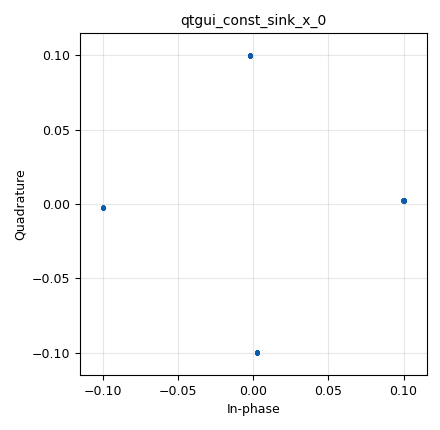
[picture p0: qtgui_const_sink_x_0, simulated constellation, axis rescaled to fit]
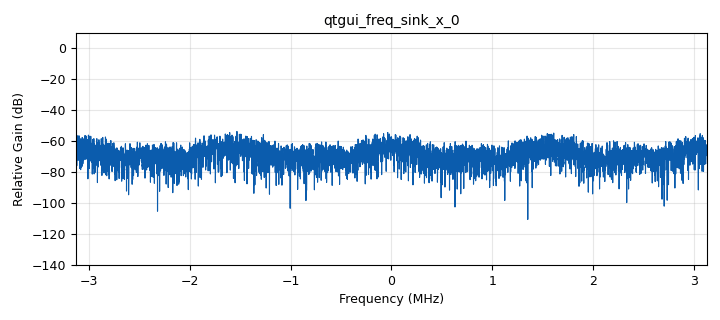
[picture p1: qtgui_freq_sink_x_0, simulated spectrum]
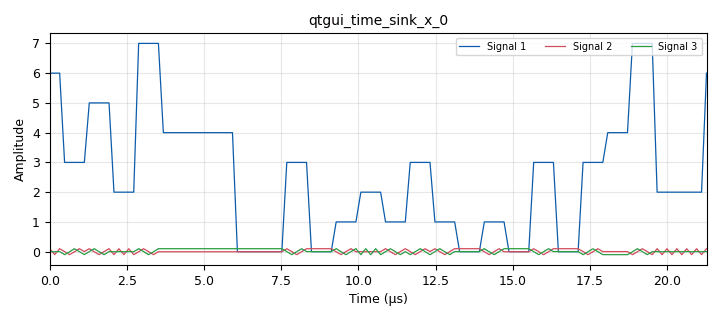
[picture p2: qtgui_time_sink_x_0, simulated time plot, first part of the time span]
options:
  parameters:
    generate_options: qt_gui
    id: grupo_5_jairo_edson_practica_3
    output_language: python
    title: ModulationFsk
  states: {}

blocks:
- name: A
  id: variable_qtgui_range
  parameters:
    label: escala
    start: '0'
    step: '100e-3'
    stop: '2'
    value: '1'
  states: {}
- name: Ac
  id: variable_qtgui_range
  parameters:
    label: Amplitud de la portadora
    start: '0'
    step: '100e-3'
    stop: '2'
    value: '100e-3'
  states: {}
- name: B
  id: variable_qtgui_range
  parameters:
    label: '#muestras por simbolo [sps]'
    rangeType: int
    start: '1'
    step: '1'
    stop: '40'
    value: '5'
  states: {}
- name: DC
  id: variable_qtgui_range
  parameters:
    label: Nivel de la señal modulante
    start: '-8'
    step: '100e-3'
    stop: '8'
    value: '0'
  states: {}
- name: GTX
  id: variable_qtgui_range
  parameters:
    label: Ganancia transmisor
    start: '0'
    step: '1'
    stop: '30'
    value: '0'
  states: {}
- name: Kf
  id: variable_qtgui_range
  parameters:
    label: Coeficiente de sensibilidad (MHz/V)
    start: '-2*math.pi'
    step: '1e-3'
    stop: 2*math.pi
    value: math.pi/2
  states: {}
- name: 'No'
  id: variable_qtgui_range
  parameters:
    label: Amplitud Ruido
    start: '0'
    step: '100e-6'
    stop: '30e-3'
    value: '100e-6'
  states: {}
- name: fc
  id: variable_qtgui_range
  parameters:
    label: Frecuencia de la portadora
    start: 50e6
    step: 1e6
    stop: 2.2e9
    value: 50e6
  states: {}
- name: kp
  id: variable_qtgui_range
  parameters:
    label: Coeficiente de sensibilidad(rad/V)
    start: '-2*math.pi'
    step: '0.001'
    stop: 2*math.pi
    value: 2*math.pi/math.pow(2,n)
  states: {}
- name: n
  id: variable_qtgui_range
  parameters:
    label: '# bit por simbolo'
    start: '1'
    step: '1'
    stop: '4'
    value: '3'
  states: {}
- name: samp_rate
  id: variable
  parameters:
    value: 12500000/2
  states: {}
- name: analog_frequency_modulator_fc_0
  id: analog_frequency_modulator_fc
  parameters:
    sensitivity: Kf
  states: {}
- name: analog_noise_source_x_0
  id: analog_noise_source_x
  parameters:
    amp: 'No'
    noise_type: analog.GR_GAUSSIAN
    seed: '0'
    type: complex
  states: {}
- name: analog_phase_modulator_fc_0
  id: analog_phase_modulator_fc
  parameters:
    sensitivity: kp
  states: {state: disabled}
- name: analog_random_source_x_0
  id: analog_random_source_x
  parameters:
    max: int(math.pow(2,n))
    min: '0'
    num_samps: '10000 '
    repeat: 'True'
    type: byte
  states: {}
- name: blocks_add_const_vxx_0
  id: blocks_add_const_vxx
  parameters:
    const: DC
    type: float
  states: {}
- name: blocks_add_xx_0
  id: blocks_add_xx
  parameters:
    type: complex
  states: {}
- name: blocks_complex_to_float_0
  id: blocks_complex_to_float
  parameters: {}
  states: {}
- name: blocks_multiply_const_vxx_0
  id: blocks_multiply_const_vxx
  parameters:
    const: A
    type: float
  states: {}
- name: blocks_multiply_const_vxx_1
  id: blocks_multiply_const_vxx
  parameters:
    const: Ac
    type: complex
  states: {}
- name: blocks_repeat_0
  id: blocks_repeat
  parameters:
    interp: B
    type: float
  states: {}
- name: blocks_uchar_to_float_0
  id: blocks_uchar_to_float
  parameters: {}
  states: {}
- name: import_0
  id: import
  parameters:
    imports: import math
  states: {}
- name: qtgui_const_sink_x_0
  id: qtgui_const_sink_x
  parameters:
    size: '1024'
    type: complex
  states: {}
- name: qtgui_freq_sink_x_0
  id: qtgui_freq_sink_x
  parameters:
    bw: samp_rate
    fc: '0'
    fftsize: '8192'
    type: complex
  states: {}
- name: qtgui_time_sink_x_0
  id: qtgui_time_sink_x
  parameters:
    autoscale: 'True'
    entags: 'False'
    nconnections: '3'
    size: 1024*8
    srate: samp_rate
    type: float
  states: {}
- name: uhd_usrp_sink_0
  id: uhd_usrp_sink
  parameters:
    ant0: '"TX/RX"'
    center_freq0: fc
    gain0: GTX
    samp_rate: samp_rate
    sync: pc_clock
    type: fc32
  states: {}
- name: virtual_sink_0
  id: virtual_sink
  parameters:
    stream_id: m_t
  states: {}
- name: virtual_sink_1
  id: virtual_sink
  parameters:
    stream_id: g(t)
  states: {}
- name: virtual_source_0
  id: virtual_source
  parameters:
    stream_id: m_t
  states: {}
- name: virtual_source_1
  id: virtual_source
  parameters:
    stream_id: g(t)
  states: {}
- name: virtual_source_1_0
  id: virtual_source
  parameters:
    stream_id: m_t
  states: {}

connections:
- [analog_frequency_modulator_fc_0, '0', blocks_multiply_const_vxx_1, '0']
- [analog_noise_source_x_0, '0', blocks_add_xx_0, '1']
- [analog_phase_modulator_fc_0, '0', blocks_multiply_const_vxx_1, '0']
- [analog_random_source_x_0, '0', blocks_uchar_to_float_0, '0']
- [blocks_add_const_vxx_0, '0', blocks_multiply_const_vxx_0, '0']
- [blocks_add_xx_0, '0', blocks_complex_to_float_0, '0']
- [blocks_add_xx_0, '0', qtgui_const_sink_x_0, '0']
- [blocks_add_xx_0, '0', qtgui_freq_sink_x_0, '0']
- [blocks_complex_to_float_0, '0', qtgui_time_sink_x_0, '1']
- [blocks_complex_to_float_0, '1', qtgui_time_sink_x_0, '2']
- [blocks_multiply_const_vxx_0, '0', virtual_sink_0, '0']
- [blocks_multiply_const_vxx_1, '0', virtual_sink_1, '0']
- [blocks_repeat_0, '0', blocks_add_const_vxx_0, '0']
- [blocks_uchar_to_float_0, '0', blocks_repeat_0, '0']
- [virtual_source_0, '0', analog_frequency_modulator_fc_0, '0']
- [virtual_source_0, '0', analog_phase_modulator_fc_0, '0']
- [virtual_source_1, '0', blocks_add_xx_0, '0']
- [virtual_source_1, '0', uhd_usrp_sink_0, '0']
- [virtual_source_1_0, '0', qtgui_time_sink_x_0, '0']

metadata:
  file_format: 1
